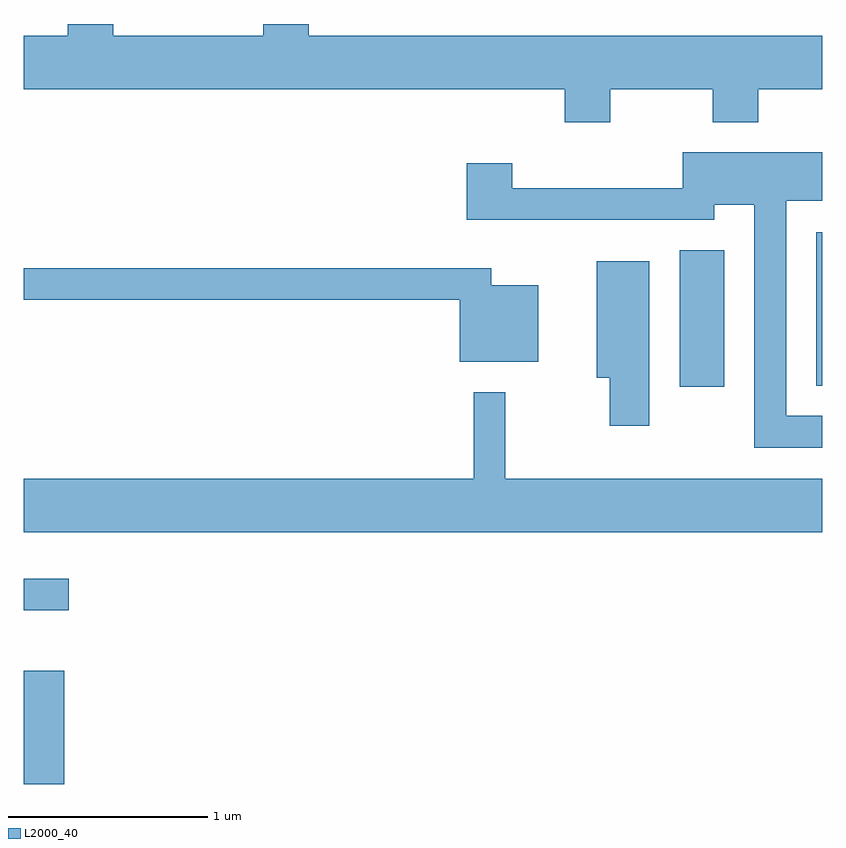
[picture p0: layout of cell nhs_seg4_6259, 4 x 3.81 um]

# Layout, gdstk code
import gdstk
lib = gdstk.Library(unit=1e-6, precision=1e-09)
def R(c, l, rs):  # rectangles x0, y0, x1, y1
    for r in rs: c.add(gdstk.rectangle(r[:2], r[2:], *l))
def P(c, l, *ps):  # polygons
    for p in ps: c.add(gdstk.Polygon(p, *l))
L2000_40 = (2000, 40)

nhs_seg4_6259 = lib.new_cell('nhs_seg4_6259')
R(nhs_seg4_6259, L2000_40, [(369.611,1260.176,369.814,1260.744), (369.611,1261.046,369.838,1261.204), (372.896,1262.166,373.119,1262.849), (373.581,1262.171,373.611,1262.939)])
P(nhs_seg4_6259, L2000_40, [(372.549,1263.656),(373.061,1263.656),(373.061,1263.491),(373.289,1263.491),(373.289,1263.656),(373.611,1263.656),(373.611,1263.924),(371.039,1263.924),(371.039,1263.982),(370.811,1263.982),(370.811,1263.924),(370.059,1263.924),(370.059,1263.982),(369.831,1263.982),(369.831,1263.924),(369.611,1263.924),(369.611,1263.656),(372.321,1263.656),(372.321,1263.491),(372.549,1263.491)],
  [(373.611,1262.019),(373.429,1262.019),(373.429,1263.096),(373.611,1263.096),(373.611,1263.339),(372.911,1263.339),(372.911,1263.159),(372.059,1263.159),(372.059,1263.284),(371.831,1263.284),(371.831,1263.001),(373.069,1263.001),(373.069,1263.076),(373.271,1263.076),(373.271,1261.861),(373.611,1261.861)],
  [(372.744,1262.794),(372.481,1262.794),(372.481,1262.211),(372.546,1262.211),(372.546,1261.971),(372.744,1261.971)],
  [(372.189,1262.674),(371.954,1262.674),(371.954,1262.759),(369.611,1262.759),(369.611,1262.601),(371.796,1262.601),(371.796,1262.291),(372.189,1262.291)],
  [(373.611,1261.704),(372.024,1261.704),(372.024,1262.138),(371.866,1262.138),(371.866,1261.704),(369.611,1261.704),(369.611,1261.436),(373.611,1261.436)])

lib.write_gds('nhs_seg4_6259.gds')
